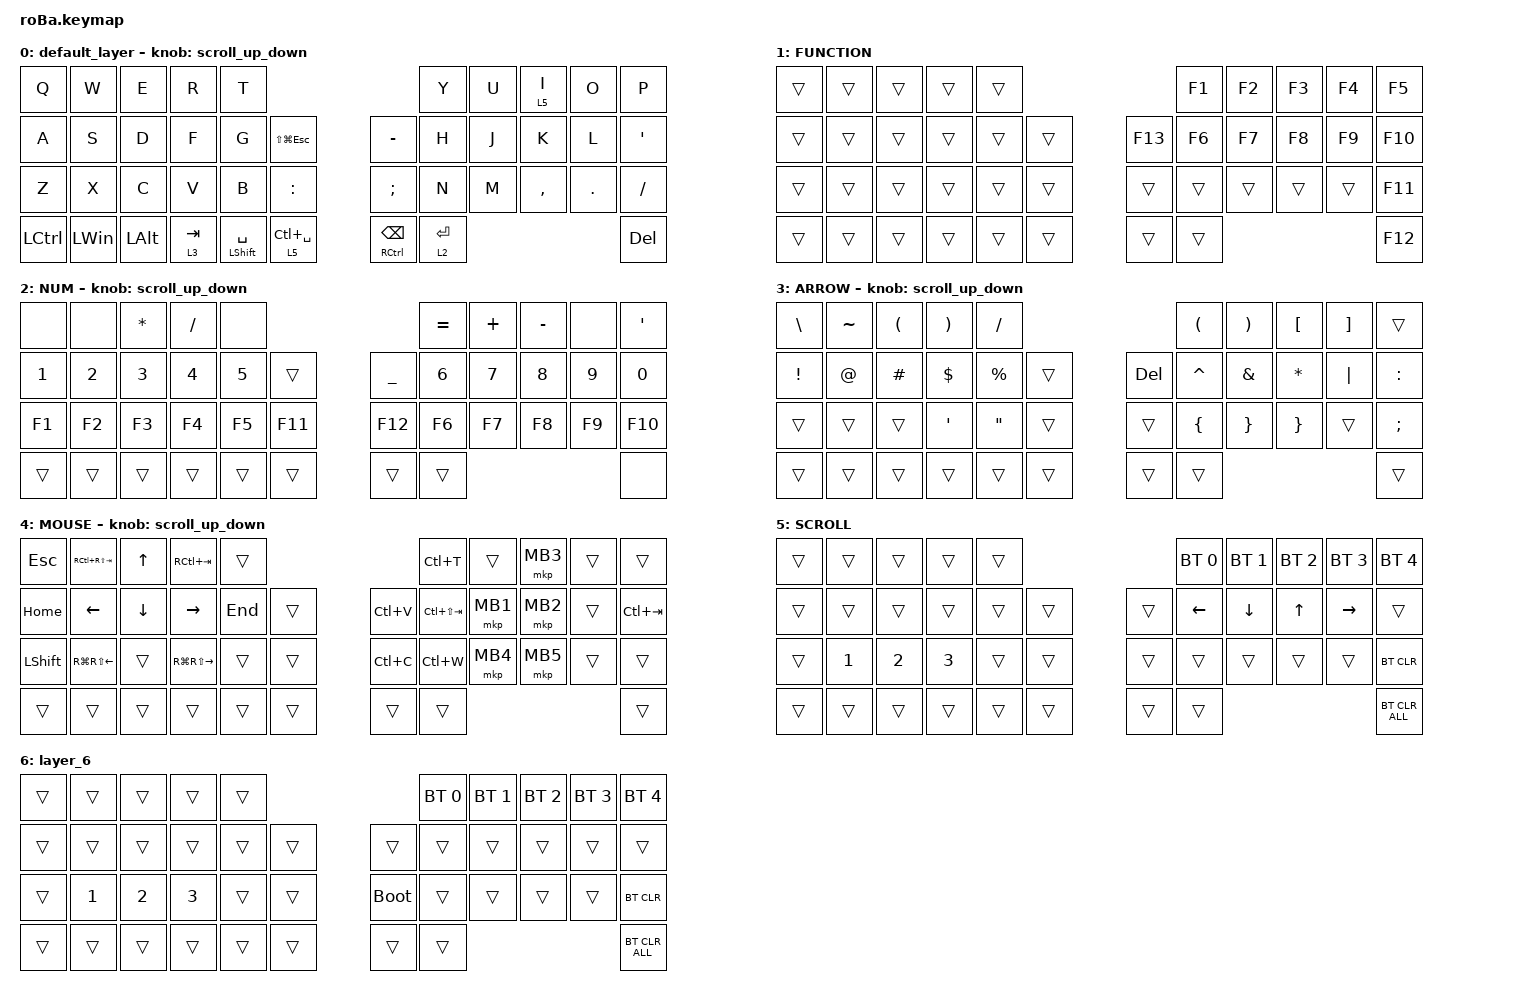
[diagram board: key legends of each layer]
#include <behaviors.dtsi>
#include <dt-bindings/zmk/bt.h>
#include <dt-bindings/zmk/keys.h>
#include <dt-bindings/zmk/pointing.h>

#define ZMK_POINTING_DEFAULT_SCRL_VAL 100
#define MOUSE 4
#define SCROLL 5
#define NUM 6

&mt {
    flavor = "balanced";
    quick-tap-ms = <0>;
};

/ {
    combos {
        compatible = "zmk,combos";

        tab {
            bindings = <&kp TAB>;
            key-positions = <11 12>;
        };

        shift_tab {
            bindings = <&kp LS(TAB)>;
            key-positions = <12 13>;
        };

        muhennkann {
            bindings = <&to_layer_0 INT_MUHENKAN>;
            key-positions = <11 10>;
        };

        double_quotation {
            bindings = <&kp DOUBLE_QUOTES>;
            key-positions = <20 21>;
        };

        eq {
            bindings = <&kp EQUAL>;
            key-positions = <24 25>;
        };
    };

    macros {
        to_layer_0: to_layer_0 {
            compatible = "zmk,behavior-macro-one-param";
            #binding-cells = <1>;
            bindings = <&to 0 &macro_param_1to1 &kp MACRO_PLACEHOLDER>;
            label = "TO_LAYER_0";
        };
    };

    behaviors {
        lt_to_layer_0: lt_to_layer_0 {
            compatible = "zmk,behavior-hold-tap";
            label = "LAYER_TAP_TO_0";
            bindings = <&mo>, <&to_layer_0>;

            #binding-cells = <2>;
            tapping-term-ms = <200>;
        };

        scroll_up_down: behavior_sensor_rotate_mouse_wheel_up_down {
            compatible = "zmk,behavior-sensor-rotate";
            #sensor-binding-cells = <0>;
            bindings = <&msc SCRL_UP>, <&msc SCRL_DOWN>;

            // 追加: スクロールのタップ時間を設定 (20ms)

            tap-ms = <20>;
        };
    };

    keymap {
        compatible = "zmk,keymap";

        default_layer {
            bindings = <
&kp Q      &kp W         &kp E         &kp R                 &kp T                                                                      &kp Y        &kp U  &lt 5 I    &kp O    &kp P
&kp A      &kp S         &kp D         &kp F                 &kp G                 &kp LS(LG(ESCAPE))              &kp MINUS            &kp H        &kp J  &kp K      &kp L    &kp SQT
&kp Z      &kp X         &kp C         &kp V                 &kp B                 &kp COLON                       &kp SEMICOLON        &kp N        &kp M  &kp COMMA  &kp DOT  &kp SLASH
&kp LCTRL  &kp LEFT_WIN  &kp LEFT_ALT  &lt_to_layer_0 3 TAB  &mt LEFT_SHIFT SPACE  &lt_to_layer_0 5 LC(SPACE)      &mt RCTRL BACKSPACE  &lt 2 ENTER                             &kp DEL
            >;

            sensor-bindings = <&scroll_up_down>;
        };

        FUNCTION {
            bindings = <
&trans  &trans  &trans  &trans  &trans                       &kp F1  &kp F2  &kp F3  &kp F4  &kp F5
&trans  &trans  &trans  &trans  &trans  &trans      &kp F13  &kp F6  &kp F7  &kp F8  &kp F9  &kp F10
&trans  &trans  &trans  &trans  &trans  &trans      &trans   &trans  &trans  &trans  &trans  &kp F11
&trans  &trans  &trans  &trans  &trans  &trans      &trans   &trans                          &kp F12
            >;
        };

        NUM {
            bindings = <
&none         &none         &kp ASTRK     &kp SLASH     &none                                      &kp EQUAL     &kp PLUS      &kp MINUS     &none         &kp SINGLE_QUOTE
&kp NUMBER_1  &kp NUMBER_2  &kp NUMBER_3  &kp NUMBER_4  &kp NUMBER_5  &trans       &kp UNDERSCORE  &kp NUMBER_6  &kp NUMBER_7  &kp NUMBER_8  &kp NUMBER_9  &kp NUMBER_0
&kp F1        &kp F2        &kp F3        &kp F4        &kp F5        &kp F11      &kp F12         &kp F6        &kp F7        &kp F8        &kp F9        &kp F10
&trans        &trans        &trans        &trans        &trans        &trans       &trans          &trans                                                  &none
            >;

            sensor-bindings = <&scroll_up_down>;
        };

        ARROW {
            bindings = <
&kp BACKSLASH    &kp TILDE    &kp LEFT_PARENTHESIS  &kp RIGHT_PARENTHESIS  &kp SLASH                                  &kp LEFT_PARENTHESIS  &kp RIGHT_PARENTHESIS  &kp LEFT_BRACKET  &kp RIGHT_BRACKET  &trans
&kp EXCLAMATION  &kp AT_SIGN  &kp HASH              &kp DOLLAR             &kp PERCENT        &trans      &kp DELETE  &kp CARET             &kp AMPERSAND          &kp ASTERISK      &kp PIPE           &kp COLON
&trans           &trans       &trans                &kp SINGLE_QUOTE       &kp DOUBLE_QUOTES  &trans      &trans      &kp LEFT_BRACE        &kp RIGHT_BRACE        &kp RIGHT_BRACE   &trans             &kp SEMICOLON
&trans           &trans       &trans                &trans                 &trans             &trans      &trans      &trans                                                                            &trans
            >;

            sensor-bindings = <&scroll_up_down>;
        };

        MOUSE {
            bindings = <
&kp ESCAPE      &kp RC(RS(TAB))         &kp UP_ARROW    &kp RC(TAB)              &trans                          &kp LC(T)        &trans    &mkp MB3  &trans  &trans
&kp HOME        &kp LEFT_ARROW          &kp DOWN_ARROW  &kp RIGHT_ARROW          &kp END  &trans      &kp LC(V)  &kp LC(LS(TAB))  &mkp MB1  &mkp MB2  &trans  &kp LC(TAB)
&kp LEFT_SHIFT  &kp RG(RS(LEFT_ARROW))  &trans          &kp RG(RS(RIGHT_ARROW))  &trans   &trans      &kp LC(C)  &kp LC(W)        &mkp MB4  &mkp MB5  &trans  &trans
&trans          &trans                  &trans          &trans                   &trans   &trans      &trans     &trans                                       &trans
            >;

            sensor-bindings = <&scroll_up_down>;
        };

        SCROLL {
            bindings = <
&trans  &trans        &trans        &trans        &trans                      &bt BT_SEL 0    &bt BT_SEL 1    &bt BT_SEL 2  &bt BT_SEL 3     &bt BT_SEL 4
&trans  &trans        &trans        &trans        &trans  &trans      &trans  &kp LEFT_ARROW  &kp DOWN_ARROW  &kp UP_ARROW  &kp RIGHT_ARROW  &trans
&trans  &kp NUMBER_1  &kp NUMBER_2  &kp NUMBER_3  &trans  &trans      &trans  &trans          &trans          &trans        &trans           &bt BT_CLR
&trans  &trans        &trans        &trans        &trans  &trans      &trans  &trans                                                         &bt BT_CLR_ALL
            >;
        };

        layer_6 {
            bindings = <
&trans  &trans        &trans        &trans        &trans                           &bt BT_SEL 0  &bt BT_SEL 1  &bt BT_SEL 2  &bt BT_SEL 3  &bt BT_SEL 4
&trans  &trans        &trans        &trans        &trans  &trans      &trans       &trans        &trans        &trans        &trans        &trans
&trans  &kp NUMBER_1  &kp NUMBER_2  &kp NUMBER_3  &trans  &trans      &bootloader  &trans        &trans        &trans        &trans        &bt BT_CLR
&trans  &trans        &trans        &trans        &trans  &trans      &trans       &trans                                                  &bt BT_CLR_ALL
            >;
        };
    };
};
